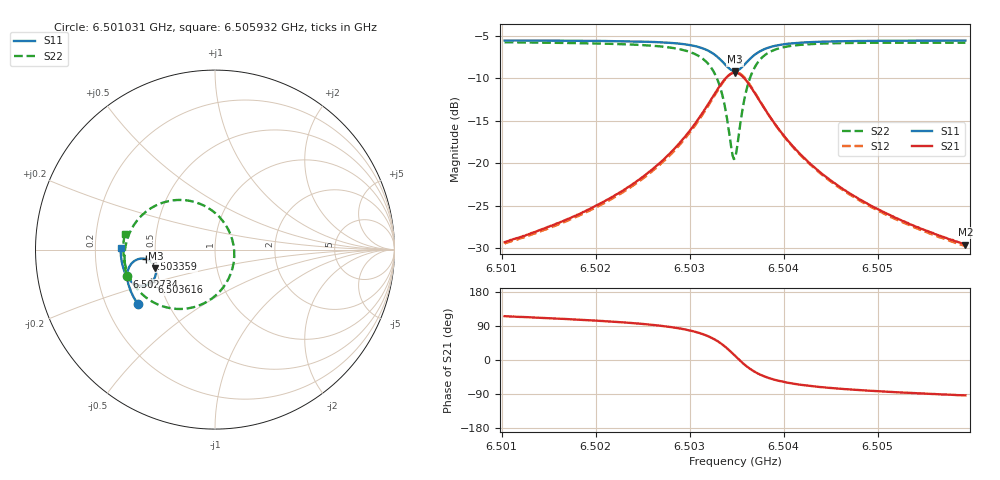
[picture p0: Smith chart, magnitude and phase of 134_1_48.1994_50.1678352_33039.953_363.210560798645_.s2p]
#  HZ  S  RI  R  50.00
! Rohde & Schwarz Vector Network Analyzer
! Rohde-Schwarz,ZNB20-2Port,1311601062101988,3.16
! Created: UTC 3/20/2024, 11:42:01 AM
! freq[Hz]  re:S11  im:S11  re:S21  im:S21  re:S12  im:S12  re:S22  im:S22
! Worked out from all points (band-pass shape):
!   401 points, 6.501031 GHz to 6.505932 GHz, reference 50 ohm
!   highest |S21| = -9.36 dB at 6.503482 GHz (marker M1); lowest = -29.5 dB at 6.505932 GHz (marker M2)
!   |S21| within 3 dB of the highest: 6.503236 GHz to 6.503726 GHz (490 kHz wide, 0.00753 % of centre)
!   lowest |S11| = -9.2 dB at 6.503482 GHz (marker M3), VSWR 2.07, Z = 24.6 - j5.82 ohm
!   |S11| at or under -10 dB: nowhere
!   |S22| runs from -19.5 to -5.8 dB; largest |S21 - S12| = 0.012
!   S11 on the Smith chart (normalised r, x): 6.501031 GHz: 0.34, -0.28; 6.502734 GHz: 0.33, -0.14; 6.503359 GHz: 0.44, -0.05; 6.503616 GHz: 0.45, -0.19; 6.505932 GHz: 0.31, +0.01
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6.5010308e9  -0.4298 -0.3038  -0.0149 0.031  -0.0131 0.0311  -0.4924 -0.1459
6.5018518e9  -0.4647 -0.2425  -0.0141 0.0491  -0.0116 0.0488  -0.5042 -0.0573
6.5022929e9  -0.4799 -0.2029  -0.0111 0.0683  -0.00796 0.0673  -0.5004 0.00678
6.5026728e9  -0.4885 -0.1602  -0.00149 0.0995  0.00222 0.0969  -0.4793 0.0849
6.5027341e9  -0.489 -0.1519  0.0018 0.1067  0.00554 0.1039  -0.472 0.101
6.5029547e9  -0.4855 -0.1167  0.0241 0.1422  0.0277 0.1379  -0.4255 0.1719
6.503114e9  -0.4707 -0.0845  0.0638 0.1784  0.0666 0.1725  -0.3482 0.2358
6.503261e9  -0.4326 -0.0549  0.1461 0.2073  0.1468 0.2007  -0.1979 0.2767
6.50331e9  -0.4112 -0.0501  0.1889 0.2056  0.189 0.1999  -0.1226 0.2677
6.503359e9  -0.3858 -0.0521  0.238 0.1902  0.2382 0.1853  -0.0386 0.2325
6.5034448e9  -0.3429 -0.0816  0.3165 0.1149  0.319 0.1104  0.0867 0.0839
6.5034816e9  -0.3322 -0.1039  0.3339 0.0657  0.3376 0.06  0.1069 -0.00842
6.5035061e9  -0.3293 -0.1202  0.3373 0.0308  0.3413 0.0238  0.1041 -0.0724
6.5035428e9  -0.3315 -0.1443  0.3297 -0.0196  0.333 -0.0287  0.0759 -0.1616
6.5036164e9  -0.354 -0.1813  0.2825 -0.096  0.2823 -0.1076  -0.0353 -0.2846
6.5037144e9  -0.3949 -0.2007  0.2038 -0.139  0.1989 -0.1493  -0.1956 -0.3308
6.5038737e9  -0.4442 -0.1931  0.1157 -0.1385  0.1084 -0.1438  -0.3561 -0.2862
6.5040453e9  -0.4735 -0.172  0.0677 -0.1174  0.0611 -0.1198  -0.434 -0.2187
6.5043026e9  -0.4957 -0.1405  0.0347 -0.0906  0.0298 -0.0911  -0.4819 -0.1404
6.504658e9  -0.5111 -0.1028  0.0157 -0.0672  0.0123 -0.0667  -0.5042 -0.0668
6.5051236e9  -0.5208 -0.0592  0.00514 -0.0495  0.00288 -0.0487  -0.5108 0.00105
6.5059324e9  -0.526 0.00966  -0.002 -0.0333  -0.00344 -0.0324  -0.5032 0.0884
